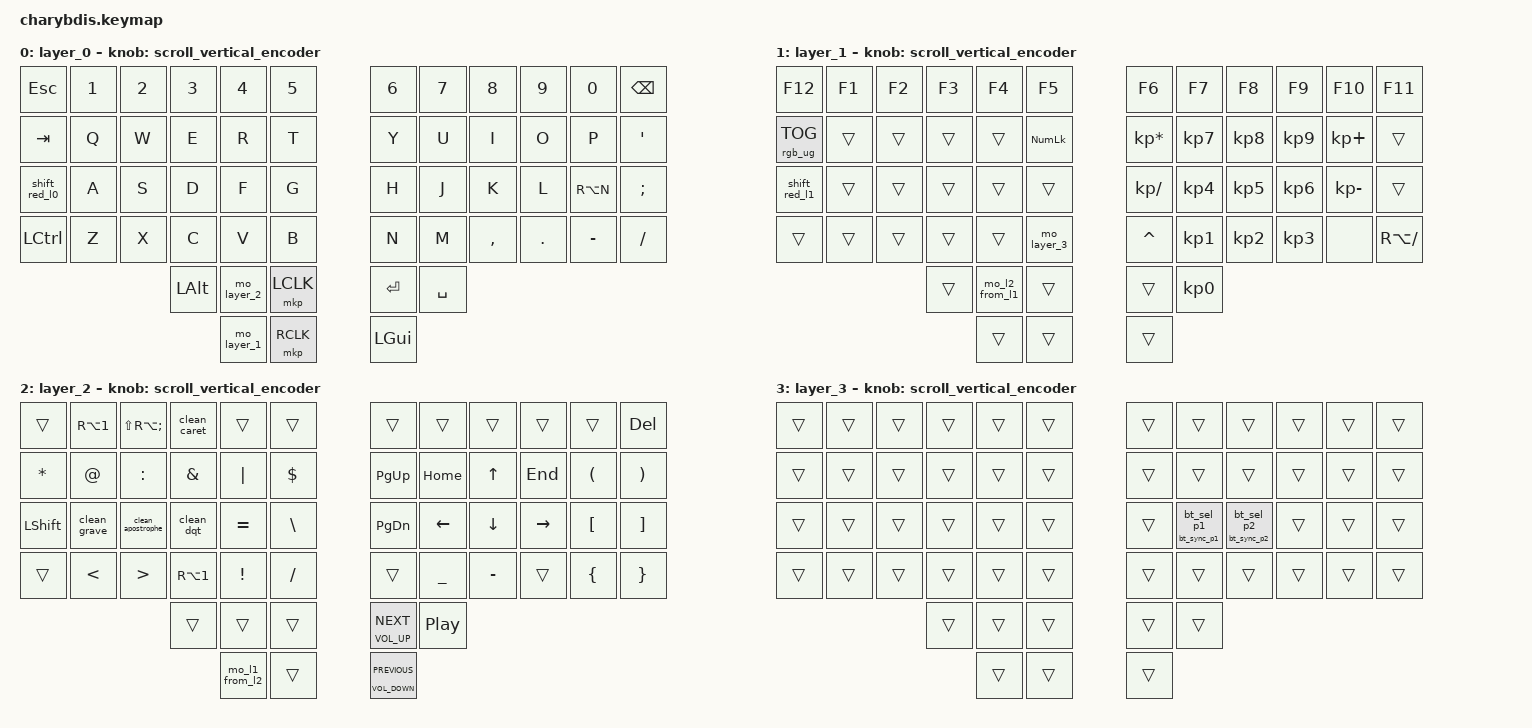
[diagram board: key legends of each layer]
#define ZMK_POINTING_DEFAULT_SCRL_VAL 25
#define BT_HOLD_TIMEOUT_MS 3000

#include <dt-bindings/zmk/mouse.h>
#include <input/processors.dtsi>
#include <zephyr/dt-bindings/input/input-event-codes.h>
#include <behaviors.dtsi>
#include <dt-bindings/zmk/bt.h>
#include <dt-bindings/zmk/keys.h>
#include <dt-bindings/zmk/pointing.h>
#include <dt-bindings/zmk/rgb.h>

&lt {
    tapping-term-ms = <200>;
    flavor = "balanced";
    quick-tap-ms = <150>;
};

&msc {
    acceleration-exponent = <0>;
    time-to-max-speed-ms = <30>;
    delay-ms = <0>;
};

/ {
    scroll_vertical_encoder: scroll_vertical_encoder {
        compatible = "zmk,behavior-sensor-rotate";
        #sensor-binding-cells = <0>;
        bindings = <&msc SCRL_DOWN>, <&msc SCRL_UP>;

        tap-ms = <64>;
    };

    scroll_horizontal_encoder: scroll_horizontal_encoder {
        compatible = "zmk,behavior-sensor-rotate";
        #sensor-binding-cells = <0>;
        bindings = <&msc SCRL_LEFT>, <&msc SCRL_RIGHT>;

        tap-ms = <100>;
    };

    hold_tap_fast: hold_tap_fast {
        compatible = "zmk,behavior-hold-tap";
        label = "HOLD_TAP_FAST";
        bindings = <&kp>, <&kp>;

        #binding-cells = <2>;
        tapping-term-ms = <70>;
    };

    behaviors {
        ht_bt_p1: ht_bt_p1 {
            compatible = "zmk,behavior-hold-tap";
            label = "HT_BT_P1";
            #binding-cells = <2>;
            flavor = "tap-preferred";
            tapping-term-ms = <BT_HOLD_TIMEOUT_MS>;
            bindings = <&bt_sync_p1>, <&bt_sel_p1>;
        };

        ht_bt_p2: ht_bt_p2 {
            compatible = "zmk,behavior-hold-tap";
            label = "HT_BT_P2";
            #binding-cells = <2>;
            flavor = "tap-preferred";
            tapping-term-ms = <BT_HOLD_TIMEOUT_MS>;
            bindings = <&bt_sync_p2>, <&bt_sel_p2>;
        };
    };

    macros {
        clean_caret: clean_caret {
            compatible = "zmk,behavior-macro";
            #binding-cells = <0>;
            bindings = <&kp CARET &kp SPACE>;
            label = "CLEAN_CARET";
        };

        clean_grave: clean_grave {
            compatible = "zmk,behavior-macro";
            #binding-cells = <0>;
            bindings = <&kp GRAVE &kp SPACE>;
            label = "CLEAN_GRAVE";
        };

        clean_apostrophe: clean_apostrophe {
            compatible = "zmk,behavior-macro";
            #binding-cells = <0>;
            bindings = <&kp APOSTROPHE &kp SPACE>;
            label = "CLEAN_APOSTROPHE";
        };

        clean_dqt: clean_dqt {
            compatible = "zmk,behavior-macro";
            #binding-cells = <0>;
            bindings = <&kp DQT &kp SPACE>;
            label = "CLEAN_DQT";
        };

        // Shift en Capa 0: Rojo al presionar -> Cyan al soltar

        shift_red_l0: shift_red_l0 {
            compatible = "zmk,behavior-macro";
            label = "SHIFT_RED_L0";
            #binding-cells = <0>;
            wait-ms = <0>;
            tap-ms = <0>;
            bindings =
                <&macro_press>,
                <&kp LEFT_SHIFT>,
                <&macro_tap>,
                <&rgb_ug RGB_COLOR_HSB(0, 100, 50)>,
                <&macro_pause_for_release>,
                <&macro_release>,
                <&kp LEFT_SHIFT>,
                <&macro_tap>,
                <&rgb_ug RGB_COLOR_HSB(180, 60, 40)>;
        };

        // Shift en Capa 1: Rojo al presionar -> Verde al soltar

        shift_red_l1: shift_red_l1 {
            compatible = "zmk,behavior-macro";
            label = "SHIFT_RED_L1";
            #binding-cells = <0>;
            wait-ms = <0>;
            tap-ms = <0>;
            bindings =
                <&macro_press>,
                <&kp LEFT_SHIFT>,
                <&macro_tap>,
                <&rgb_ug RGB_COLOR_HSB(0, 100, 50)>,
                <&macro_pause_for_release>,
                <&macro_release>,
                <&kp LEFT_SHIFT>,
                <&macro_tap>,
                <&rgb_ug RGB_COLOR_HSB(120, 100, 50)>;
        };

        // Capa 1 desde Capa 0: Verde al mantener -> Cyan al soltar

        mo_layer_1: mo_layer_1 {
            compatible = "zmk,behavior-macro";
            label = "MO_LAYER_1";
            #binding-cells = <0>;
            wait-ms = <0>;
            tap-ms = <0>;
            bindings =
                <&macro_press>,
                <&mo 1>,
                <&macro_tap>,
                <&rgb_ug RGB_COLOR_HSB(120, 100, 50)>,
                <&macro_pause_for_release>,
                <&macro_release>,
                <&mo 1>,
                <&macro_tap>,
                <&rgb_ug RGB_COLOR_HSB(180, 60, 40)>;
        };

        // Capa 2 desde Capa 0: Amarillo al mantener -> Cyan al soltar

        mo_layer_2: mo_layer_2 {
            compatible = "zmk,behavior-macro";
            label = "MO_LAYER_2";
            #binding-cells = <0>;
            wait-ms = <0>;
            tap-ms = <0>;
            bindings =
                <&macro_press>,
                <&mo 2>,
                <&macro_tap>,
                <&rgb_ug RGB_COLOR_HSB(60, 100, 50)>,
                <&macro_pause_for_release>,
                <&macro_release>,
                <&mo 2>,
                <&macro_tap>,
                <&rgb_ug RGB_COLOR_HSB(180, 60, 40)>;
        };

        // Activar Capa 2 mientras se mantiene Capa 1: Amarillo -> Verde

        mo_l2_from_l1: mo_l2_from_l1 {
            compatible = "zmk,behavior-macro";
            label = "MO_L2_FROM_L1";
            #binding-cells = <0>;
            wait-ms = <0>;
            tap-ms = <0>;
            bindings =
                <&macro_press>,
                <&mo 2>,
                <&macro_tap>,
                <&rgb_ug RGB_COLOR_HSB(60, 100, 50)>,
                <&macro_pause_for_release>,
                <&macro_release>,
                <&mo 2>,
                <&macro_tap>,
                <&rgb_ug RGB_COLOR_HSB(120, 100, 50)>;
        };

        // Activar Capa 1 mientras se mantiene Capa 2: Verde -> Amarillo

        mo_l1_from_l2: mo_l1_from_l2 {
            compatible = "zmk,behavior-macro";
            label = "MO_L1_FROM_L2";
            #binding-cells = <0>;
            wait-ms = <0>;
            tap-ms = <0>;
            bindings =
                <&macro_press>,
                <&mo 1>,
                <&macro_tap>,
                <&rgb_ug RGB_COLOR_HSB(120, 100, 50)>,
                <&macro_pause_for_release>,
                <&macro_release>,
                <&mo 1>,
                <&macro_tap>,
                <&rgb_ug RGB_COLOR_HSB(60, 100, 50)>;
        };

        // Capa 3 desde Capa 1 (tecla B): Azul al mantener -> Verde al soltar

        mo_layer_3: mo_layer_3 {
            compatible = "zmk,behavior-macro";
            label = "MO_LAYER_3";
            #binding-cells = <0>;
            wait-ms = <0>;
            tap-ms = <0>;
            bindings =
                <&macro_press>,
                <&mo 3>,
                <&macro_tap>,
                <&rgb_ug RGB_COLOR_HSB(240, 100, 50)>,
                <&macro_pause_for_release>,
                <&macro_release>,
                <&mo 3>,
                <&macro_tap>,
                <&rgb_ug RGB_COLOR_HSB(120, 100, 50)>;
        };

        // Tap Perfil 1: Activa perfil 0, destello Amarillo y vuelve a Azul

        bt_sel_p1: bt_sel_p1 {
            compatible = "zmk,behavior-macro";
            label = "BT_SEL_P1";
            #binding-cells = <0>;
            wait-ms = <350>;
            tap-ms = <10>;
            bindings =
                <&macro_tap>,
                <&bt BT_SEL 0>,
                <&macro_tap>,
                <&rgb_ug RGB_COLOR_HSB(60, 100, 50)>,
                <&macro_tap>,
                <&rgb_ug RGB_COLOR_HSB(240, 100, 50)>;
        };

        // Tap Perfil 2: Activa perfil 1, destello Morado y vuelve a Azul

        bt_sel_p2: bt_sel_p2 {
            compatible = "zmk,behavior-macro";
            label = "BT_SEL_P2";
            #binding-cells = <0>;
            wait-ms = <350>;
            tap-ms = <10>;
            bindings =
                <&macro_tap>,
                <&bt BT_SEL 1>,
                <&macro_tap>,
                <&rgb_ug RGB_COLOR_HSB(280, 100, 50)>,
                <&macro_tap>,
                <&rgb_ug RGB_COLOR_HSB(240, 100, 50)>;
        };

        // Hold Perfil 1 (3 seg): Borra vínculo perfil 0, parpadeo Naranjo y vuelve a Azul

        bt_sync_p1: bt_sync_p1 {
            compatible = "zmk,behavior-macro";
            label = "BT_SYNC_P1";
            #binding-cells = <0>;
            wait-ms = <60>;
            tap-ms = <60>;
            bindings =
                <&macro_tap>,
                <&bt BT_SEL 0>,
                <&macro_tap>,
                <&bt BT_CLR>,
                <&macro_tap>,
                <&rgb_ug RGB_COLOR_HSB(25, 100, 50)>,
                <&macro_tap>,
                <&rgb_ug RGB_COLOR_HSB(0, 0, 0)>,
                <&macro_tap>,
                <&rgb_ug RGB_COLOR_HSB(25, 100, 50)>,
                <&macro_tap>,
                <&rgb_ug RGB_COLOR_HSB(0, 0, 0)>,
                <&macro_tap>,
                <&rgb_ug RGB_COLOR_HSB(25, 100, 50)>,
                <&macro_tap>,
                <&rgb_ug RGB_COLOR_HSB(240, 100, 50)>;
        };

        // Hold Perfil 2 (3 seg): Borra vínculo perfil 1, parpadeo Morado y vuelve a Azul

        bt_sync_p2: bt_sync_p2 {
            compatible = "zmk,behavior-macro";
            label = "BT_SYNC_P2";
            #binding-cells = <0>;
            wait-ms = <60>;
            tap-ms = <60>;
            bindings =
                <&macro_tap>,
                <&bt BT_SEL 1>,
                <&macro_tap>,
                <&bt BT_CLR>,
                <&macro_tap>,
                <&rgb_ug RGB_COLOR_HSB(280, 100, 50)>,
                <&macro_tap>,
                <&rgb_ug RGB_COLOR_HSB(0, 0, 0)>,
                <&macro_tap>,
                <&rgb_ug RGB_COLOR_HSB(280, 100, 50)>,
                <&macro_tap>,
                <&rgb_ug RGB_COLOR_HSB(0, 0, 0)>,
                <&macro_tap>,
                <&rgb_ug RGB_COLOR_HSB(280, 100, 50)>,
                <&macro_tap>,
                <&rgb_ug RGB_COLOR_HSB(240, 100, 50)>;
        };
    };

    keymap {
        compatible = "zmk,keymap";

        layer_0 {
            bindings = <
&kp ESC        &kp N1  &kp N2  &kp N3        &kp N4       &kp N5       &kp N6     &kp N7     &kp N8     &kp N9   &kp N0     &kp BACKSPACE
&kp TAB        &kp Q   &kp W   &kp E         &kp R        &kp T        &kp Y      &kp U      &kp I      &kp O    &kp P      &kp SQT
&shift_red_l0  &kp A   &kp S   &kp D         &kp F        &kp G        &kp H      &kp J      &kp K      &kp L    &kp RA(N)  &kp SEMI
&kp LCTRL      &kp Z   &kp X   &kp C         &kp V        &kp B        &kp N      &kp M      &kp COMMA  &kp DOT  &kp MINUS  &kp SLASH
                               &kp LEFT_ALT  &mo_layer_2  &mkp LCLK    &kp ENTER  &kp SPACE
                                             &mo_layer_1  &mkp RCLK    &kp LGUI
            >;

            sensor-bindings = <&scroll_vertical_encoder>;
        };

        layer_1 {
            bindings = <
&kp F12          &kp F1  &kp F2  &kp F3  &kp F4          &kp F5         &kp F6           &kp F7     &kp F8     &kp F9     &kp F10       &kp F11
&rgb_ug RGB_TOG  &trans  &trans  &trans  &trans          &kp KP_NUM     &kp KP_MULTIPLY  &kp KP_N7  &kp KP_N8  &kp KP_N9  &kp KP_PLUS   &trans
&shift_red_l1    &trans  &trans  &trans  &trans          &trans         &kp KP_DIVIDE    &kp KP_N4  &kp KP_N5  &kp KP_N6  &kp KP_MINUS  &trans
&trans           &trans  &trans  &trans  &trans          &mo_layer_3    &kp CARET        &kp KP_N1  &kp KP_N2  &kp KP_N3  &none         &kp RA(SLASH)
                                 &trans  &mo_l2_from_l1  &trans         &trans           &kp KP_N0
                                         &trans          &trans         &trans
            >;

            sensor-bindings = <&scroll_vertical_encoder>;
        };

        layer_2 {
            bindings = <
&trans          &kp RA(N1)    &kp LS(RA(SEMI))   &clean_caret  &trans          &trans        &trans                                   &trans            &trans        &trans     &trans                &kp DEL
&kp STAR        &kp AT        &kp COLON          &kp AMPS      &kp PIPE        &kp DOLLAR    &kp PAGE_UP                              &kp HOME          &kp UP_ARROW  &kp END    &kp LEFT_PARENTHESIS  &kp RIGHT_PARENTHESIS
&kp LEFT_SHIFT  &clean_grave  &clean_apostrophe  &clean_dqt    &kp EQUAL       &kp BSLH      &kp PAGE_DOWN                            &kp LEFT          &kp DOWN      &kp RIGHT  &kp LBKT              &kp RBKT
&trans          &kp LT        &kp GT             &kp RA(N1)    &kp EXCL        &kp SLASH     &trans                                   &kp UNDER         &kp MINUS     &trans     &kp LBRC              &kp RBRC
                                                 &trans        &trans          &trans        &hold_tap_fast C_VOLUME_UP C_NEXT        &kp C_PLAY_PAUSE
                                                               &mo_l1_from_l2  &trans        &hold_tap_fast C_VOLUME_DOWN C_PREVIOUS
            >;

            sensor-bindings = <&scroll_vertical_encoder>;
        };

        layer_3 {
            bindings = <
&trans  &trans  &trans  &trans  &trans  &trans    &trans  &trans         &trans         &trans  &trans  &trans
&trans  &trans  &trans  &trans  &trans  &trans    &trans  &trans         &trans         &trans  &trans  &trans
&trans  &trans  &trans  &trans  &trans  &trans    &trans  &ht_bt_p1 0 0  &ht_bt_p2 0 0  &trans  &trans  &trans
&trans  &trans  &trans  &trans  &trans  &trans    &trans  &trans         &trans         &trans  &trans  &trans
                        &trans  &trans  &trans    &trans  &trans
                                &trans  &trans    &trans
            >;

            sensor-bindings = <&scroll_vertical_encoder>;
        };
    };
};
